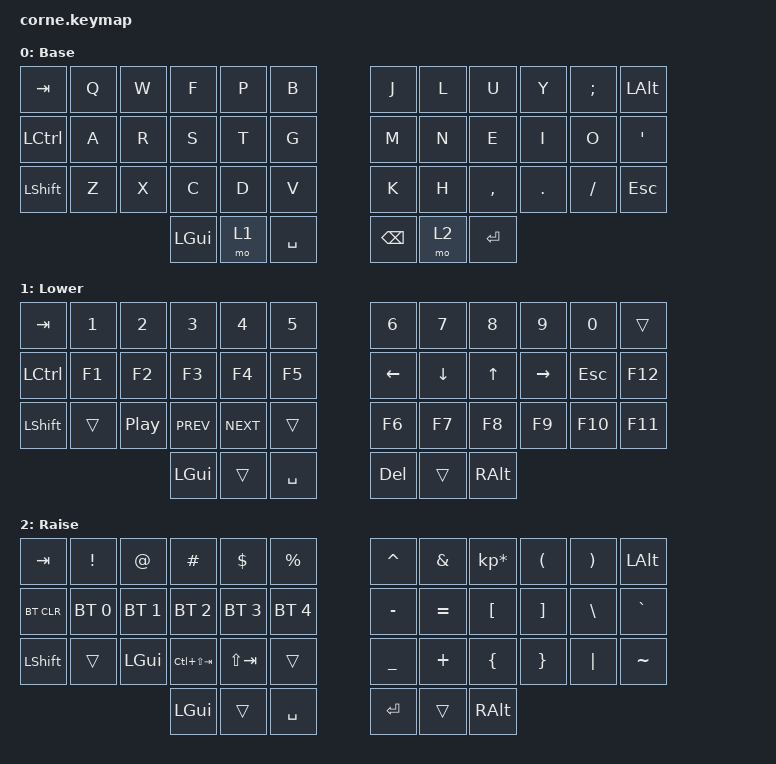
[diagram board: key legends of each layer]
/*
 * Copyright (c) 2020 The ZMK Contributors
 *
 * SPDX-License-Identifier: MIT
 */

#include <behaviors.dtsi>
#include <dt-bindings/zmk/keys.h>
#include <dt-bindings/zmk/bt.h>

/ {
        keymap {
                compatible = "zmk,keymap";

                default_layer {
// -----------------------------------------------------------------------------------------
// |  TAB |  Q  |  W  |  F  |  P  |  B  |   |  J  |  L   |  U  |  Y  |  ;  | ALT  |
// | CTRL |  A  |  R  |  S  |  T  |  G  |   |  M  |  N   |  E  |  I  |  O  |  '   |
// | SHFT |  Z  |  X  |  C  |  D  |  V  |   |  K  |  H   |  ,  |  .  |  /  | ESC  |
//                    | GUI | LWR | SPC |   | BKS | RSE  | ENT |
                        label = "Base";
                        bindings = <
   &kp TAB   &kp Q &kp W &kp F &kp P &kp B   &kp J    &kp L  &kp U     &kp Y   &kp SEMI &kp LALT
   &kp LCTRL &kp A &kp R &kp S &kp T &kp G   &kp M    &kp N  &kp E     &kp I   &kp O    &kp SQT
   &kp LSHFT &kp Z &kp X &kp C &kp D &kp V   &kp K    &kp H  &kp COMMA &kp DOT &kp FSLH &kp ESC
                  &kp LGUI &mo 1 &kp SPACE   &kp BSPC &mo 2  &kp RET
                        >;
                };
                lower_layer {
// -----------------------------------------------------------------------------------------
// |  TAB |  1  |  2  |  3  |  4  |  5  |   |  6  |  7  |  8  |  9  |  0  |      |
// | CTRL |  F1 |  F2 |  F3 |  F4 |  F5 |   | LFT | DWN |  UP | RGT | ESC | F12  |
// | SHFT |     |PL/PS| PRV | NXT |     |   |  F6 |  F7 |  F8 |  F9 | F10 | F11  |
//                    | GUI |     | SPC |   | DEL |     | ALT |
                        label = "Lower";
                        bindings = <
   &kp TAB   &kp N1   &kp N2   &kp N3     &kp N4     &kp N5      &kp N6   &kp N7   &kp N8   &kp N9    &kp N0  &trans
   &kp LCTRL &kp F1   &kp F2   &kp F3     &kp F4     &kp F5      &kp LEFT &kp DOWN &kp UP   &kp RIGHT &kp ESC &kp F12
   &kp LSHFT &trans   &kp C_PP &kp C_PREV &kp C_NEXT &trans      &kp F6   &kp F7   &kp F8   &kp F9    &kp F10 &kp F11
                           &kp LGUI     &trans    &kp SPACE      &kp DEL  &trans   &kp RALT
                        >;
                };

                raise_layer {
// -----------------------------------------------------------------------------------------
// |  TAB |  !  |  @  |  #  |  $  |  %  |   |  ^  |  &  |  *  |  (  |  )  | ALT  |
// | BTCLR| BT1 | BT2 | BT3 | BT4 | BT5 |   |  -  |  =  |  [  |  ]  |  \  |  `   |
// | SHFT |     | GUI |^S-TB|^-TB |     |   |  _  |  +  |  {  |  }  | "|" |  ~   |
//                    | GUI |     | SPC |   | BKS |     | ENT |
                        label = "Raise";
                        bindings = <
   &kp  TAB   &kp EXCL     &kp AT       &kp HASH        &kp DLLR &kp PRCNT            &kp CARET &kp AMPS  &kp KP_MULTIPLY &kp LPAR &kp RPAR &kp LALT
   &bt BT_CLR &bt BT_SEL 0 &bt BT_SEL 1 &bt BT_SEL 2    &bt BT_SEL 3 &bt BT_SEL 4     &kp MINUS &kp EQUAL &kp LBKT        &kp RBKT &kp BSLH &kp GRAVE
   &kp LSHFT  &trans       &kp LGUI     &kp LC(LS(TAB)) &kp LS(TAB)  &trans           &kp UNDER &kp PLUS  &kp LBRC        &kp RBRC &kp PIPE &kp TILDE
                    	                &kp LGUI        &trans       &kp SPACE        &kp RET   &trans    &kp RALT
                        >;
                };
        };
};
